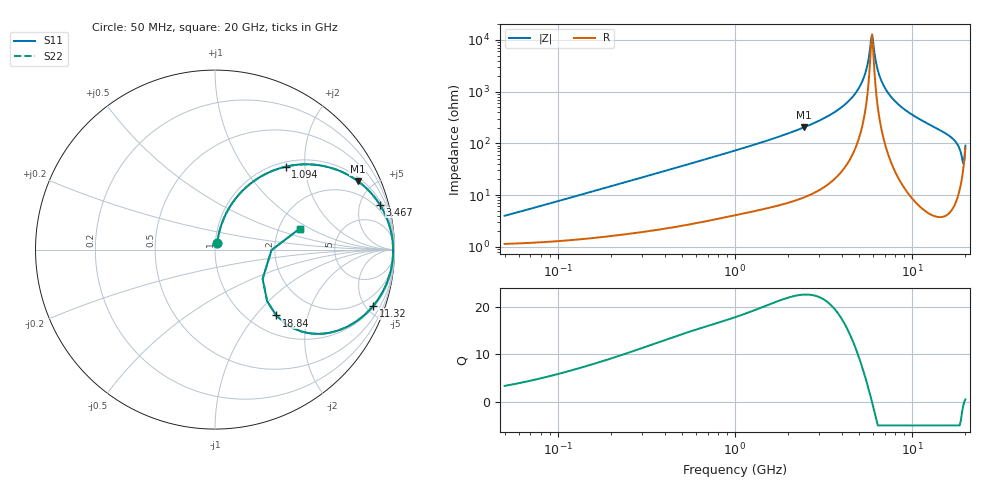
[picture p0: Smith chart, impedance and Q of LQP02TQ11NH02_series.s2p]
!Murata Part Number: LQP02TQ11NH02
!These Parameters are Measured in Series Mode Connection
!  o--[Z]--o
!Port1  Port2
!  o-------o
!Freq. Start=50[MHz] Stop=20[GHz], 401[Steps]
# Hz S RI R 50
!Freq.(Hz) S11(Real) S11(Imag) S21(Real) S21(Imag) S12(Real) S12(Imag) S22(Real) S22(Imag)
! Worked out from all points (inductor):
!   401 points, 50 MHz to 20 GHz, reference 50 ohm
!   read as one part in series: L = 12 nH near 51.52 MHz
!   highest Q = 22.6 at 2.456 GHz (marker M1), where L = 13.2 nH
!   self-resonance near 5.856 GHz
!   S11 on the Smith chart (normalised r, x): 50 MHz: 1.02, +0.08; 1.094 GHz: 1.09, +1.59; 3.467 GHz: 1.35, +7.20; 11.32 GHz: 1.11, -5.58; 18.84 GHz: 1.32, -1.29; 20 GHz: 2.61, +0.80
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5e7  0.0126 0.0371  0.9874 -0.0371  0.9874 -0.0371  0.0126 0.0371
1.364002e8  0.0236 0.0978  0.9764 -0.0978  0.9764 -0.0978  0.0236 0.0978
3.721004e8  0.0851 0.2421  0.9149 -0.2421  0.9149 -0.2421  0.0851 0.2421
1e9  0.3523 0.4505  0.6477 -0.4505  0.6477 -0.4505  0.3523 0.4505
1.094034e9  0.3932 0.462  0.6068 -0.462  0.6068 -0.462  0.3932 0.462
2.456456e9  0.7961 0.3814  0.2039 -0.3814  0.2039 -0.3814  0.7961 0.3814
2.728004e9  0.8389 0.3461  0.1611 -0.3461  0.1611 -0.3461  0.8389 0.3461
3.466789e9  0.918 0.2511  0.082 -0.2511  0.082 -0.2511  0.918 0.2511
4.275624e9  0.964 0.1571  0.036 -0.1571  0.036 -0.1571  0.964 0.1571
4.966507e9  0.9834 0.0864  0.0166 -0.0864  0.0166 -0.0864  0.9834 0.0864
5.433528e9  0.9898 0.043  0.0102 -0.043  0.0102 -0.043  0.9898 0.043
5.769027e9  0.9919 0.0139  0.00809 -0.0139  0.00809 -0.0139  0.9919 0.0139
5.944466e9  0.9923 -0.000783  0.00773 0.000783  0.00773 0.000783  0.9923 -0.000783
6.034176e9  0.9923 -0.00811  0.00771 0.00811  0.00771 0.00811  0.9923 -0.00811
6.601595e9  0.99 -0.0522  0.00997 0.0522  0.00997 0.0522  0.99 -0.0522
7.442007e9  0.9806 -0.1113  0.0194 0.1113  0.0194 0.1113  0.9806 -0.1113
8.907419e9  0.9516 -0.1995  0.0484 0.1995  0.0484 0.1995  0.9516 -0.1995
1.131968e10  0.8812 -0.3137  0.1188 0.3137  0.1188 0.3137  0.8812 -0.3137
1.597544e10  0.6717 -0.4551  0.3283 0.4551  0.3283 0.4551  0.6717 -0.4551
1.774144e10  0.5176 -0.4647  0.4824 0.4647  0.4824 0.4647  0.5176 -0.4647
1.88369e10  0.341 -0.3666  0.659 0.3666  0.659 0.3666  0.341 -0.3666
2e10  0.4726 0.1172  0.5274 -0.1172  0.5274 -0.1172  0.4726 0.1172
